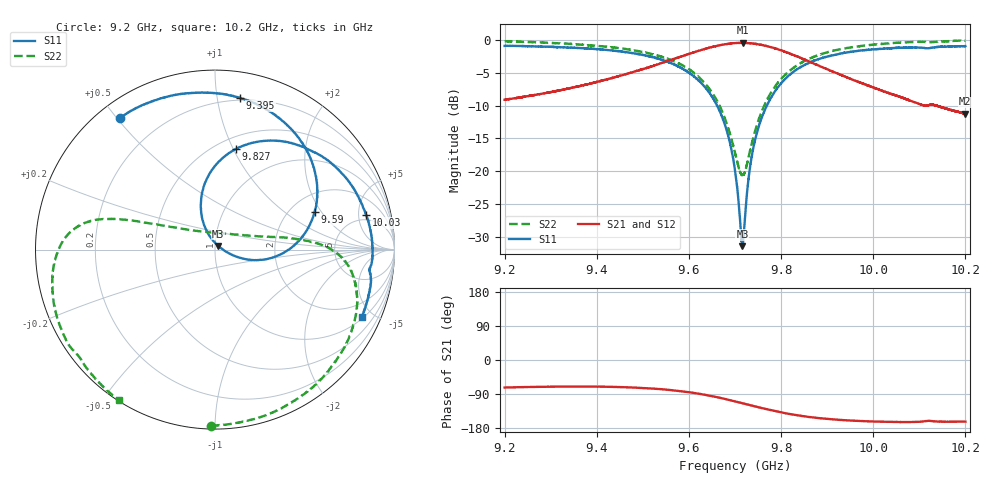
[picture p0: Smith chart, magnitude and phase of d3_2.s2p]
!Agilent Technologies,N5242A,MY51221714,A.09.90.19
!Agilent N5242A: A.09.90.19
!Date: Saturday, March 16, 2024 09:08:50
!Correction: S11(Full 2 Port(1,2))
!S21(Full 2 Port(1,2))
!S12(Full 2 Port(1,2))
!S22(Full 2 Port(1,2))
!S2P File: Measurements: S11, S21, S12, S22:
# Hz S  dB  R 50
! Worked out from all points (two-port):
!   16001 points, 9.2 GHz to 10.2 GHz, reference 50 ohm
!   highest |S21| = -0.41 dB at 9.718 GHz (marker M1); lowest = -11.2 dB at 10.2 GHz (marker M2)
!   |S21| within 3 dB of the highest: 9.544 GHz to 9.866 GHz (321.2 MHz wide, 3.31 % of centre); 9.865816 GHz to 9.866011 GHz (194.4 kHz wide, 0.00197 % of centre)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
!   lowest |S11| = -31.4 dB at 9.716 GHz (marker M3), VSWR 1.06, Z = 51.8 + j2.07 ohm
!   |S11| at or under -10 dB: 9.661 GHz to 9.769 GHz (107.9 MHz wide, 1.11 % of centre); 9.769111 GHz to 9.769132 GHz (21.15 kHz wide, 0.000217 % of centre)
!   |S22| runs from -20.7 to 0.0 dB; largest |S21 - S12| = 0.012
!   S11 on the Smith chart (normalised r, x): 9.2 GHz: 0.06, +0.51; 9.395 GHz: 0.18, +1.16; 9.59 GHz: 2.69, +1.73; 9.827 GHz: 0.61, +1.03; 10.03 GHz: 4.08, +6.24; 10.2 GHz: 1.09, -4.29
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9.2e9  -0.88 125.9  -9.10 -72.7  -9.10 -73.2  -0.16 -91.2
9.277625e9  -0.97 108.5  -8.22 -70.9  -8.20 -71.3  -0.35 -69.7
9.366688e9  -1.22 87.7  -6.95 -70.0  -6.94 -70.6  -0.70 -46.0
9.394938e9  -1.35 80.6  -6.48 -70.1  -6.46 -70.7  -0.85 -38.6
9.533375e9  -2.83 40.9  -3.67 -76.5  -3.67 -76.9  -2.37 -8.1
9.590438e9  -4.53 20.6  -2.32 -83.5  -2.32 -84.0  -4.02 1.1
9.661625e9  -10.07 -8.6  -0.86 -98.3  -0.85 -98.7  -9.35 12.0
9.684125e9  -14.32 -17.0  -0.57 -104.5  -0.56 -105.0  -13.17 20.4
9.7e9  -19.81 -17.2  -0.45 -109.1  -0.44 -109.7  -17.24 37.6
9.716125e9  -31.45 48.3  -0.43 -114.0  -0.41 -114.6  -20.71 84.9
9.717812e9  -30.64 67.6  -0.41 -114.6  -0.41 -115.2  -20.52 91.2
9.733438e9  -18.94 113.8  -0.48 -119.4  -0.47 -120.0  -16.67 134.9
9.751875e9  -13.09 110.4  -0.66 -125.0  -0.64 -125.6  -11.99 150.6
9.784e9  -8.13 96.9  -1.19 -134.0  -1.19 -134.7  -7.38 159.2
9.826938e9  -4.82 78.1  -2.26 -144.2  -2.26 -144.7  -4.22 163.9
9.866688e9  -3.28 62.4  -3.44 -151.3  -3.43 -151.8  -2.66 168.1
9.9505e9  -1.79 34.6  -5.90 -159.8  -5.91 -160.2  -1.12 -178.8
1.003025e10  -1.26 12.9  -7.98 -163.0  -7.99 -163.7  -0.50 -162.8
1.003338e10  -1.26 12.1  -8.06 -163.2  -8.06 -163.7  -0.49 -162.1
1.010538e10  -1.16 -5.3  -9.87 -162.5  -9.88 -163.0  -0.25 -146.2
1.019994e10  -0.93 -24.7  -11.23 -162.6  -11.22 -163.2  -0.06 -122.7
1.02e10  -0.92 -24.8  -11.23 -162.6  -11.22 -163.1  -0.06 -122.7
